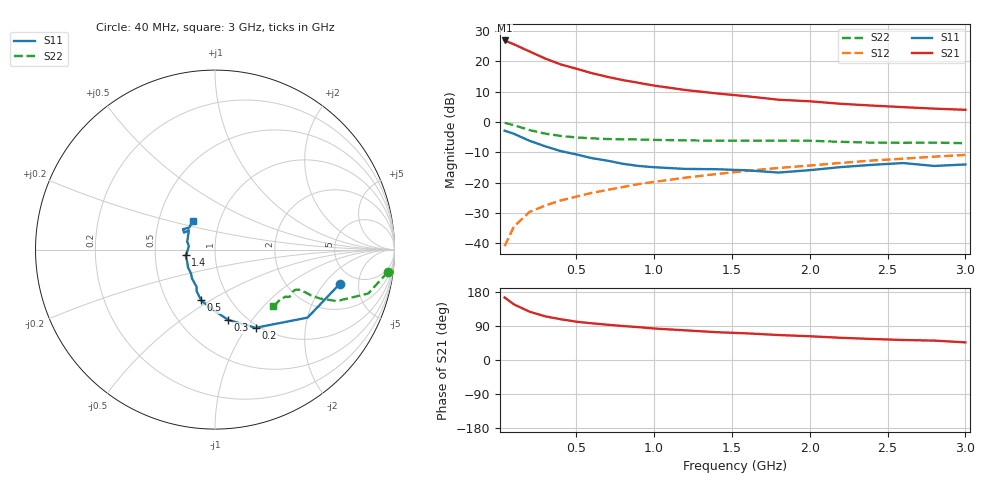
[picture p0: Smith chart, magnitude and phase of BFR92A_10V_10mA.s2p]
! Filename:  BFR92AH.S2P  Version:  2.0
! Philips part #: BFR92A  Date: May 1990
! Bias condition: Vce=10V, Ic=10mA
#  MHz  S  MA  R  50
! Freq  S11  S21  S12  S22  !GUM [dB]
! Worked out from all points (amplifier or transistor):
!   21 points, 40 MHz to 3 GHz, reference 50 ohm
!   highest |S21| = 26.9 dB at 40 MHz (marker M1)
!   |S21| within 3 dB of that: start of sweep to 173.5 MHz
!   unconditionally stable (mu >= 1): 995.6 MHz to 2.477 GHz
!   at 300 MHz: K = 0.69, MSG = 24.2 dB, |S12| = -27.5 dB
!   at 1 GHz: K = 1.00, MAG = 15.7 dB, |S12| = -19.7 dB
!   at 3 GHz: K = 0.99, MSG = 7.4 dB, |S12| = -10.8 dB
!   S11 on the Smith chart (normalised r, x): 40 MHz: 3.68, -2.94; 200 MHz: 0.96, -1.11; 300 MHz: 0.83, -0.78; 500 MHz: 0.74, -0.46; 1.4 GHz: 0.72, -0.04; 3 GHz: 0.75, +0.25
40  0.72 -15.5  22.11 164.9  0.009 84.4  0.971 -7.4
100  0.64 -36.3  19.09 146.7  0.019 71.8  0.888 -16.0
200  0.491 -62.5  14.57 127.5  0.033 66.9  0.737 -22.9
300  0.399 -79.3  11.15 115.3  0.042 66.2  0.645 -25.0
400  0.332 -93.0  8.913 107.6  0.051 66.1  0.59 -25.5
500  0.293 -105.2  7.577 101.1  0.059 67.9  0.558 -25.3
600  0.254 -113.7  6.396 96.8  0.068 69.1  0.539 -25.5
700  0.231 -116.5  5.558 93.2  0.076 70.7  0.525 -25.5
800  0.205 -128.9  4.91 89.6  0.085 71.8  0.519 -25.5
900  0.189 -134.8  4.431 86.7  0.095 72.5  0.516 -25.8
1000  0.18 -146.7  3.989 83.1  0.103 72.7  0.508 -26.0
1200  0.169 -156.5  3.375 78.3  0.121 73.5  0.499 -26.8
1400  0.167 -169.7  2.967 73.4  0.139 73.3  0.492 -28.7
1600  0.16 -171.2  2.653 70.2  0.157 73.9  0.493 -29.7
1800  0.147 172.2  2.333 65.9  0.175 73.2  0.493 -31.2
2000  0.161 164.3  2.197 62.7  0.192 73.1  0.492 -32.4
2200  0.181 143.5  1.998 58.6  0.212 73.0  0.472 -33.8
2400  0.197 151.3  1.868 55.5  0.232 71.9  0.458 -37.1
2600  0.211 147.3  1.76 52.8  0.249 71.1  0.455 -40.6
2800  0.189 139.6  1.663 51.2  0.269 71.0  0.458 -42.8
3000  0.2 128.0  1.591 46.5  0.287 69.7  0.448 -44.1
